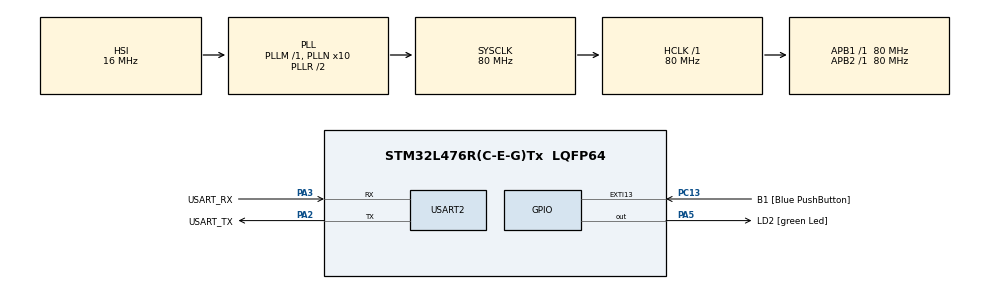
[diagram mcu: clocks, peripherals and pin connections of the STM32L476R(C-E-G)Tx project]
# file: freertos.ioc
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FREERTOS.Tasks01=defaultTask,24,128,StartDefaultTask,Default,NULL,Dynamic,NULL,NULL
Mcu.Family=STM32L4
Mcu.Name=STM32L476R(C-E-G)Tx
Mcu.Package=LQFP64
NVIC.PriorityGroup=NVIC_PRIORITYGROUP_4
PA13\ (JTMS-SWDIO).GPIO_Label=TMS
PA13\ (JTMS-SWDIO).Mode=Serial_Wire
PA13\ (JTMS-SWDIO).Signal=SYS_JTMS-SWDIO
PA14\ (JTCK-SWCLK).GPIO_Label=TCK
PA14\ (JTCK-SWCLK).Mode=Serial_Wire
PA14\ (JTCK-SWCLK).Signal=SYS_JTCK-SWCLK
PA2.GPIO_Label=USART_TX
PA2.GPIO_Mode=GPIO_MODE_AF_PP
PA2.GPIO_PuPd=GPIO_NOPULL
PA2.GPIO_Speed=GPIO_SPEED_FREQ_VERY_HIGH
PA2.Mode=Asynchronous
PA2.Signal=USART2_TX
PA3.GPIO_Label=USART_RX
PA3.GPIO_Mode=GPIO_MODE_AF_PP
PA3.GPIO_PuPd=GPIO_NOPULL
PA3.GPIO_Speed=GPIO_SPEED_FREQ_VERY_HIGH
PA3.Mode=Asynchronous
PA3.Signal=USART2_RX
PA5.GPIO_Label=LD2 [green Led]
PA5.GPIO_ModeDefaultOutputPP=GPIO_MODE_OUTPUT_PP
PA5.GPIO_PuPd=GPIO_NOPULL
PA5.GPIO_Speed=GPIO_SPEED_FREQ_LOW
PA5.Signal=GPIO_Output
PB3\ (JTDO-TRACESWO).GPIO_Label=SWO
PB3\ (JTDO-TRACESWO).Signal=SYS_JTDO-SWO
PC13.GPIO_Label=B1 [Blue PushButton]
PC13.GPIO_ModeDefaultEXTI=GPIO_MODE_IT_FALLING
PC13.GPIO_PuPd=GPIO_NOPULL
PC13.Signal=GPXTI13
PC14-OSC32_IN\ (PC14).Mode=LSE-External-Oscillator
PC14-OSC32_IN\ (PC14).Signal=RCC_OSC32_IN
PC15-OSC32_OUT\ (PC15).Mode=LSE-External-Oscillator
PC15-OSC32_OUT\ (PC15).Signal=RCC_OSC32_OUT
PH0-OSC_IN\ (PH0).Signal=RCC_OSC_IN
PH1-OSC_OUT\ (PH1).Signal=RCC_OSC_OUT
ProjectManager.HeapSize=0x200
ProjectManager.StackSize=0x400
ProjectManager.TargetToolchain=CMake
RCC.ADCFreq_Value=64000000
RCC.AHBFreq_Value=80000000
RCC.APB1Freq_Value=80000000
RCC.APB1TimFreq_Value=80000000
RCC.APB2Freq_Value=80000000
RCC.APB2TimFreq_Value=80000000
RCC.CortexFreq_Value=80000000
RCC.HCLKFreq_Value=80000000
RCC.HSE_VALUE=8000000
RCC.HSI_VALUE=16000000
RCC.MSI_VALUE=4000000
RCC.PLLN=10
RCC.PLLSourceVirtual=RCC_PLLSOURCE_HSI
RCC.PREFETCH_ENABLE=1
RCC.SYSCLKFreq_VALUE=80000000
RCC.SYSCLKSource=RCC_SYSCLKSOURCE_PLLCLK
RCC.USBFreq_Value=64000000
RCC.VCOOutputFreq_Value=160000000
USART2.VirtualMode-Asynchronous=VM_ASYNC
VP_FREERTOS_VS_CMSIS_V2.Mode=CMSIS_V2
board=NUCLEO-L476RG

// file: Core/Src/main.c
/* USER CODE BEGIN Header */
/**
 ******************************************************************************
 * @file           : main.c
 * @brief          : Main program body
 ******************************************************************************
 * @attention
 *
 * Copyright (c) 2026 STMicroelectronics.
 * All rights reserved.
 *
 * This software is licensed under terms that can be found in the LICENSE file
 * in the root directory of this software component.
 * If no LICENSE file comes with this software, it is provided AS-IS.
 *
 ******************************************************************************
 */
/* USER CODE END Header */
#include "main.h"
#include "cmsis_os.h"
#include "led_tasks.h"

UART_HandleTypeDef huart2;

/* Definitions for defaultTask */
osThreadId_t defaultTaskHandle;
const osThreadAttr_t defaultTask_attributes = {
    .name = "defaultTask",
    .stack_size = 128 * 4,
    .priority = (osPriority_t)osPriorityNormal,
};
/* USER CODE BEGIN PV */
osThreadId_t led1TaskHandle;
osThreadId_t led2TaskHandle;
osThreadId_t reporterTaskHandle;

osThreadAttr_t led1_attr;
osThreadAttr_t led2_attr;
osThreadAttr_t reporter_attr;
/* USER CODE END PV */

void SystemClock_Config(void);
static void MX_GPIO_Init(void);
static void MX_USART2_UART_Init(void);
void StartDefaultTask(void *argument);

int main(void)
{

    /* MCU
     * Configuration--------------------------------------------------------*/

    /* Reset of all peripherals, Initializes the Flash interface and the
     * Systick. */
    HAL_Init();

    /* Configure the system clock */
    SystemClock_Config();

    /* Initialize all configured peripherals */
    MX_GPIO_Init();
    MX_USART2_UART_Init();
    /* USER CODE BEGIN 2 */
    led1_attr.name = "LED1Task";
    led1_attr.stack_size = 128 * 4;
    led1_attr.priority = (osPriority_t)osPriorityNormal;

    led2_attr.name = "LED2Task";
    led2_attr.stack_size = 128 * 4;
    led2_attr.priority = (osPriority_t)osPriorityNormal;

    reporter_attr.name = "Reporter";
    reporter_attr.stack_size = 256 * 4;
    reporter_attr.priority = (osPriority_t)osPriorityNormal;

    /* USER CODE END 2 */

    /* Init scheduler */
    osKernelInitialize();

    /* Create the thread(s) */
    /* creation of defaultTask */
    defaultTaskHandle =
        osThreadNew(StartDefaultTask, NULL, &defaultTask_attributes);

    /* USER CODE BEGIN RTOS_THREADS */
    led1TaskHandle = osThreadNew(Task_LED, &led1_params, &led1_attr);
    led2TaskHandle = osThreadNew(Task_LED, &led2_params, &led2_attr);
    reporterTaskHandle = osThreadNew(Task_Reporter, NULL, &reporter_attr);
    /* USER CODE END RTOS_THREADS */

    /* Start scheduler */
    osKernelStart();

    /* We should never get here as control is now taken by the scheduler */

    /* Infinite loop */
    while (1)
    {

    }
}

void SystemClock_Config(void)
{
    RCC_OscInitTypeDef RCC_OscInitStruct = {0};
    RCC_ClkInitTypeDef RCC_ClkInitStruct = {0};

    /** Configure the main internal regulator output voltage
     */
    if (HAL_PWREx_ControlVoltageScaling(PWR_REGULATOR_VOLTAGE_SCALE1) != HAL_OK)
    {
        Error_Handler();
    }

    /** Initializes the RCC Oscillators according to the specified parameters
     * in the RCC_OscInitTypeDef structure.
     */
    RCC_OscInitStruct.OscillatorType = RCC_OSCILLATORTYPE_HSI;
    RCC_OscInitStruct.HSIState = RCC_HSI_ON;
    RCC_OscInitStruct.HSICalibrationValue = RCC_HSICALIBRATION_DEFAULT;
    RCC_OscInitStruct.PLL.PLLState = RCC_PLL_ON;
    RCC_OscInitStruct.PLL.PLLSource = RCC_PLLSOURCE_HSI;
    RCC_OscInitStruct.PLL.PLLM = 1;
    RCC_OscInitStruct.PLL.PLLN = 10;
    RCC_OscInitStruct.PLL.PLLP = RCC_PLLP_DIV7;
    RCC_OscInitStruct.PLL.PLLQ = RCC_PLLQ_DIV2;
    RCC_OscInitStruct.PLL.PLLR = RCC_PLLR_DIV2;
    if (HAL_RCC_OscConfig(&RCC_OscInitStruct) != HAL_OK)
    {
        Error_Handler();
    }

    /** Initializes the CPU, AHB and APB buses clocks
     */
    RCC_ClkInitStruct.ClockType = RCC_CLOCKTYPE_HCLK | RCC_CLOCKTYPE_SYSCLK |
                                  RCC_CLOCKTYPE_PCLK1 | RCC_CLOCKTYPE_PCLK2;
    RCC_ClkInitStruct.SYSCLKSource = RCC_SYSCLKSOURCE_PLLCLK;
    RCC_ClkInitStruct.AHBCLKDivider = RCC_SYSCLK_DIV1;
    RCC_ClkInitStruct.APB1CLKDivider = RCC_HCLK_DIV1;
    RCC_ClkInitStruct.APB2CLKDivider = RCC_HCLK_DIV1;

    if (HAL_RCC_ClockConfig(&RCC_ClkInitStruct, FLASH_LATENCY_4) != HAL_OK)
    {
        Error_Handler();
    }
}

static void MX_USART2_UART_Init(void)
{

    huart2.Instance = USART2;
    huart2.Init.BaudRate = 115200;
    huart2.Init.WordLength = UART_WORDLENGTH_8B;
    huart2.Init.StopBits = UART_STOPBITS_1;
    huart2.Init.Parity = UART_PARITY_NONE;
    huart2.Init.Mode = UART_MODE_TX_RX;
    huart2.Init.HwFlowCtl = UART_HWCONTROL_NONE;
    huart2.Init.OverSampling = UART_OVERSAMPLING_16;
    huart2.Init.OneBitSampling = UART_ONE_BIT_SAMPLE_DISABLE;
    huart2.AdvancedInit.AdvFeatureInit = UART_ADVFEATURE_NO_INIT;
    if (HAL_UART_Init(&huart2) != HAL_OK)
    {
        Error_Handler();
    }
}

static void MX_GPIO_Init(void)
{
    GPIO_InitTypeDef GPIO_InitStruct = {0};

    /* GPIO Ports Clock Enable */
    __HAL_RCC_GPIOC_CLK_ENABLE();
    __HAL_RCC_GPIOH_CLK_ENABLE();
    __HAL_RCC_GPIOA_CLK_ENABLE();
    __HAL_RCC_GPIOB_CLK_ENABLE();

    /*Configure GPIO pin Output Level */
    HAL_GPIO_WritePin(LD2_GPIO_Port, LD2_Pin, GPIO_PIN_RESET);

    /*Configure GPIO pin : B1_Pin */
    GPIO_InitStruct.Pin = B1_Pin;
    GPIO_InitStruct.Mode = GPIO_MODE_IT_FALLING;
    GPIO_InitStruct.Pull = GPIO_NOPULL;
    HAL_GPIO_Init(B1_GPIO_Port, &GPIO_InitStruct);

    /*Configure GPIO pin : LD2_Pin */
    GPIO_InitStruct.Pin = LD2_Pin;
    GPIO_InitStruct.Mode = GPIO_MODE_OUTPUT_PP;
    GPIO_InitStruct.Pull = GPIO_NOPULL;
    GPIO_InitStruct.Speed = GPIO_SPEED_FREQ_LOW;
    HAL_GPIO_Init(LD2_GPIO_Port, &GPIO_InitStruct);

    /* USER CODE BEGIN MX_GPIO_Init_2 */
    GPIO_InitStruct.Pin = LED2_PIN;
    GPIO_InitStruct.Mode = GPIO_MODE_OUTPUT_PP;
    GPIO_InitStruct.Pull = GPIO_NOPULL;
    GPIO_InitStruct.Speed = GPIO_SPEED_FREQ_LOW;
    HAL_GPIO_Init(LED2_PORT, &GPIO_InitStruct);
    HAL_GPIO_WritePin(LED2_PORT, LED2_PIN, GPIO_PIN_RESET);

    /* USER CODE END MX_GPIO_Init_2 */
}

void StartDefaultTask(void *argument)
{
    for (;;)
    {
        osDelay(1);
    }
}

void Error_Handler(void)
{
    /* USER CODE BEGIN Error_Handler_Debug */
    /* User can add his own implementation to report the HAL error return state
     */
    __disable_irq();
    while (1)
    {
    }
    /* USER CODE END Error_Handler_Debug */
}
#ifdef USE_FULL_ASSERT
/**
 * @brief  Reports the name of the source file and the source line number
 *         where the assert_param error has occurred.
 * @param  file: pointer to the source file name
 * @param  line: assert_param error line source number
 * @retval None
 */
void assert_failed(uint8_t *file, uint32_t line)
{
    /* USER CODE BEGIN 6 */
    /* User can add his own implementation to report the file name and line
       number, ex: printf("Wrong parameters value: file %s on line %d\r\n",
       file, line) */
    /* USER CODE END 6 */
}
#endif /* USE_FULL_ASSERT */
